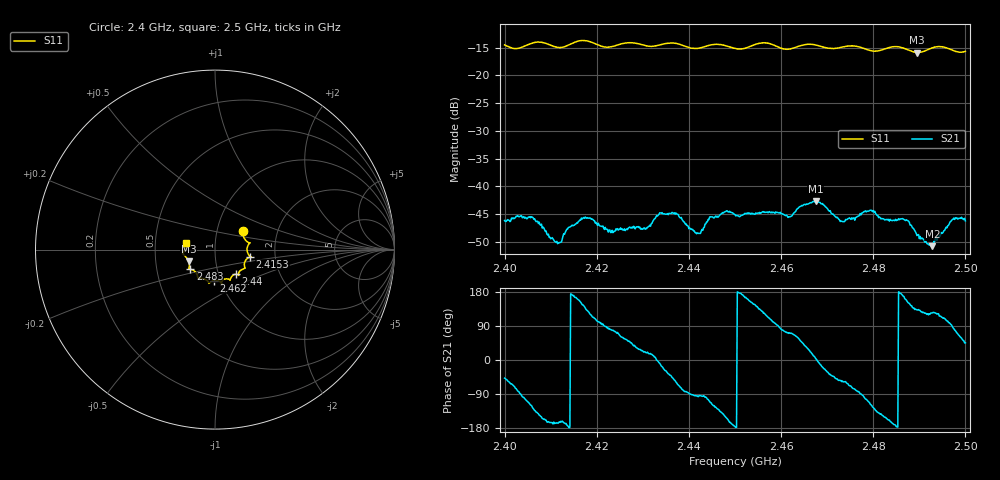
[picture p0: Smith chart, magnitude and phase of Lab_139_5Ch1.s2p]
# Hz S RI R 50
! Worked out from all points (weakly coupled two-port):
!   601 points, 2.4 GHz to 2.5 GHz, reference 50 ohm
!   highest |S21| = -42.65 dB at 2.4675 GHz (marker M1); lowest = -50.8 dB at 2.4928 GHz (marker M2)
!   lowest |S11| = -15.9 dB at 2.4895 GHz (marker M3), VSWR 1.38, Z = 36.9 - j5.02 ohm
!   |S11| at or under -10 dB: start of sweep to end of sweep
!   S12 and S22 are empty: the file has one direction only
!   S11 on the Smith chart (normalised r, x): 2.4 GHz: 1.33, +0.29; 2.4153 GHz: 1.48, -0.12; 2.44 GHz: 1.21, -0.34; 2.462 GHz: 0.93, -0.33; 2.483 GHz: 0.74, -0.17; 2.5 GHz: 0.72, +0.06
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2.4e9  0.1554 0.1063  0.00332 -0.00366  0 0  0 0
2.406e9  0.1919 0.0379  -0.00298 -0.00438  0 0  0 0
2.411667e9  0.1784 0.00437  -0.00303 -0.000727  0 0  0 0
2.415333e9  0.196 -0.0385  -0.00442 0.00117  0 0  0 0
2.416667e9  0.2018 -0.0424  -0.00448 0.00262  0 0  0 0
2.4235e9  0.1632 -0.0819  0.000764 0.00376  0 0  0 0
2.430333e9  0.1496 -0.1114  0.00394 0.00156  0 0  0 0
2.433333e9  0.1311 -0.1333  0.00551 -0.000371  0 0  0 0
2.44e9  0.1143 -0.1369  0.000173 -0.00415  0 0  0 0
2.45e9  0.0643 -0.1629  -0.00555 -0.000425  0 0  0 0
2.462e9  -0.00501 -0.1732  0.0018 0.00503  0 0  0 0
2.466667e9  -0.0342 -0.1876  0.00683 0.0021  0 0  0 0
2.4675e9  -0.035 -0.1849  0.00735 0.000532  0 0  0 0
2.473333e9  -0.0825 -0.1603  0.00274 -0.00397  0 0  0 0
2.479167e9  -0.1041 -0.1324  -0.00227 -0.00561  0 0  0 0
2.483e9  -0.1374 -0.1098  -0.00459 -0.00214  0 0  0 0
2.483333e9  -0.14 -0.1096  -0.00469 -0.00187  0 0  0 0
2.487167e9  -0.1433 -0.0958  -0.00467 0.00184  0 0  0 0
2.4895e9  -0.1465 -0.0662  -0.00243 0.00267  0 0  0 0
2.492833e9  -0.175 -0.0284  -0.00163 0.0024  0 0  0 0
2.497333e9  -0.1676 -0.00292  0.000455 0.00506  0 0  0 0
2.5e9  -0.1601 0.0392  0.00345 0.00347  0 0  0 0
